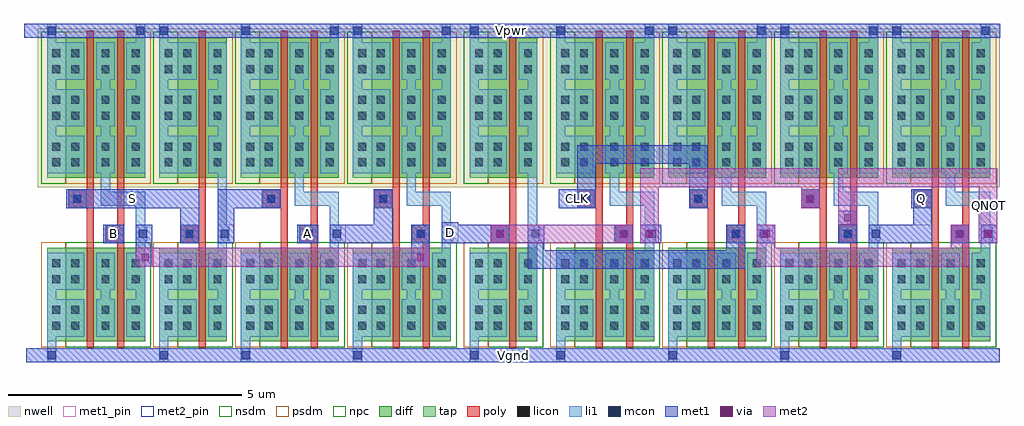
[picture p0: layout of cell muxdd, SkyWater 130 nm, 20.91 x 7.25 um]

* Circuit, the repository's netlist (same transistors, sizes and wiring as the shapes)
* NGSPICE file created from muxdd.ext - technology: sky130A

.subckt nand A OUT Vpwr Vgnd B
X0 OUT A Vpwr Vpwr sky130_fd_pr__pfet_01v8 ad=0.75 pd=3.5 as=1.35 ps=6.9 w=3 l=0.15
X1 OUT B a_30_n300# Vgnd sky130_fd_pr__nfet_01v8 ad=0.9 pd=4.9 as=0.5 ps=2.5 w=2 l=0.15
X2 Vpwr B OUT Vpwr sky130_fd_pr__pfet_01v8 ad=1.35 pd=6.9 as=0.75 ps=3.5 w=3 l=0.15
X3 a_30_n300# A Vgnd Vgnd sky130_fd_pr__nfet_01v8 ad=0.5 pd=2.5 as=0.9 ps=4.9 w=2 l=0.15
.ends

.subckt inverter IN OUT Vpwr Vgnd
X0 OUT IN Vpwr Vpwr sky130_fd_pr__pfet_01v8 ad=1.35 pd=6.9 as=1.35 ps=6.9 w=3 l=0.15
X1 OUT IN Vgnd Vgnd sky130_fd_pr__nfet_01v8 ad=0.9 pd=4.9 as=0.9 ps=4.9 w=2 l=0.15
.ends

.subckt dff CLK QNOT Vpwr D Q Vgnd
Xnand_3 Q QNOT Vpwr Vgnd nand_3/B nand
Xinverter_0 D nand_1/B Vpwr Vgnd inverter
Xnand_0 CLK nand_2/A Vpwr Vgnd D nand
Xnand_1 CLK nand_3/B Vpwr Vgnd nand_1/B nand
Xnand_2 nand_2/A Q Vpwr Vgnd QNOT nand
.ends

.subckt mux S A B Vpwr D inverter_0/OUT nand_1/A inverter_0/IN m1_620_660# Vgnd
Xinverter_0 inverter_0/IN inverter_0/OUT Vpwr Vgnd inverter
Xnand_0 S nand_2/B Vpwr Vgnd B nand
Xnand_1 nand_1/A nand_2/A Vpwr Vgnd A nand
Xnand_2 nand_2/A D Vpwr Vgnd nand_2/B nand
.ends

.subckt muxdd Vpwr Vgnd S B A D QNOT Q CLK
Xdff_0 CLK QNOT Vpwr D Q Vgnd dff
Xmux_0 S A B Vpwr D mux_0/nand_1/A mux_0/nand_1/A S S Vgnd mux
.ends

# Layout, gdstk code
import gdstk
lib = gdstk.Library(unit=1e-6, precision=1e-09)
def R(c, l, rs):  # rectangles x0, y0, x1, y1
    for r in rs: c.add(gdstk.rectangle(r[:2], r[2:], *l))
def A(c, l, x, y, w, h, nx, ny, dx, dy):  # array of equal rectangles
    R(c, l, [(x+i*dx, y+j*dy, x+i*dx+w, y+j*dy+h) for i in range(nx) for j in range(ny)])
nwell = (64, 20)
diff = (65, 20)
tap = (65, 44)
poly = (66, 20)
licon = (66, 44)
li1 = (67, 20)
mcon = (67, 44)
met1_pin = (68, 16)
met1 = (68, 20)
via = (68, 44)
met2_pin = (69, 16)
met2 = (69, 20)
nsdm = (93, 44)
psdm = (94, 20)
npc = (95, 20)

nand = lib.new_cell('nand')
R(nand, nwell, [(-1.05,1.8,1.45,5.2)])
R(nand, diff, [(-0.45,-1.5,1.25,0.5), (-0.45,2,1.25,5)])
R(nand, tap, [(-0.85,-1.5,-0.45,0.5), (-0.85,2,-0.45,5)])
R(nand, poly, [(0,-1.65,0.15,1.35), (0.65,-1.65,0.8,0.6), (0.4,0.6,0.8,1), (0.65,1,0.8,5.15), (-0.4,1.35,0.15,1.75), (0,1.75,0.15,5.15)])
A(nand, licon, -0.335, -1.255, 0.17, 0.17, 3, 2, 0.65, 0.34)
A(nand, licon, -0.335, -0.255, 0.17, 0.17, 3, 2, 0.65, 0.34)
A(nand, licon, -0.335, 2.245, 0.17, 0.17, 3, 2, 0.65, 0.34)
A(nand, licon, -0.335, 3.245, 0.17, 0.17, 3, 2, 0.65, 0.34)
A(nand, licon, -0.335, 4.245, 0.17, 0.17, 3, 2, 0.65, 0.34)
R(nand, licon, [(-0.735,-1.255,-0.565,-1.085), (-0.735,-0.915,-0.565,-0.745), (-0.735,-0.255,-0.565,-0.085), (-0.735,0.085,-0.565,0.255), (0.515,0.715,0.685,0.885), (-0.285,1.465,-0.115,1.635), (-0.735,2.245,-0.565,2.415), (-0.735,2.585,-0.565,2.755), (-0.735,3.245,-0.565,3.415), (-0.735,3.585,-0.565,3.755), (-0.735,4.245,-0.565,4.415), (-0.735,4.585,-0.565,4.755)])
A(nand, li1, -0.85, 2.1, 0.8, 0.8, 1, 3, 0, 1)
A(nand, li1, 0.2, 2.1, 0.4, 0.8, 1, 3, 0, 1)
A(nand, li1, 0.85, 2.1, 0.4, 0.8, 1, 3, 0, 1)
R(nand, li1, [(-0.85,-1.95,-0.65,-1.4), (-0.85,-1.4,-0.05,-0.6), (0.2,-1.4,0.6,-0.6), (0.85,-1.4,1.25,-0.6), (-0.85,-0.6,-0.65,-0.4), (0.3,-0.6,0.5,-0.4), (1.05,-0.6,1.25,-0.4), (-0.85,-0.4,-0.05,0.4), (0.2,-0.4,0.6,0.4), (0.85,-0.4,1.25,0.4), (1.05,0.4,1.25,0.65), (0.4,0.6,0.8,1), (1.05,0.65,1.3,0.95), (1.05,0.95,1.25,1.4), (-0.4,1.35,0,1.75), (0.3,1.4,1.25,1.7), (0.3,1.7,0.5,2.1), (-0.85,2.9,-0.65,3.1), (0.3,2.9,0.5,3.1), (1.05,2.9,1.25,3.1), (-0.85,3.9,-0.65,4.1), (0.3,3.9,0.5,4.1), (1.05,3.9,1.25,4.1), (-0.85,4.9,-0.65,5.3), (1.05,4.9,1.25,5.3)])
R(nand, mcon, [(-0.835,-1.885,-0.665,-1.715), (0.515,0.715,0.685,0.885), (1.115,0.715,1.285,0.885), (-0.285,1.465,-0.115,1.635), (-0.835,5.065,-0.665,5.235), (1.065,5.065,1.235,5.235)])
R(nand, met1_pin, [(-0.85,-1.9,-0.65,-1.7), (0.4,0.6,0.8,1), (1.05,0.6,1.4,1), (-0.4,1.35,0,1.75), (-0.85,5.05,-0.65,5.25)])
R(nand, met1, [(-1.05,-1.95,1.45,-1.65), (0.4,0.6,0.8,1), (1.05,0.6,1.4,1), (-0.4,1.35,0,1.75), (-1.05,5,1.45,5.3)])
R(nand, nsdm, [(-0.45,-1.625,1.375,0.625), (-0.975,1.875,-0.45,5.125)])
R(nand, psdm, [(-0.975,-1.625,-0.45,0.625), (-0.45,1.875,1.375,5.125)])
R(nand, npc, [(0.415,0.615,0.785,0.985), (-0.385,1.365,-0.015,1.735)])
nand.add(gdstk.Label('A', (-0.2,1.55), layer=68, texttype=5))
nand.add(gdstk.Label('OUT', (1.225,0.8), layer=68, texttype=5))
nand.add(gdstk.Label('Vpwr', (-0.75,5.15), layer=68, texttype=5))
nand.add(gdstk.Label('Vgnd', (-0.75,-1.8), layer=68, texttype=5))
nand.add(gdstk.Label('B', (0.6,0.8), layer=68, texttype=5))

inverter = lib.new_cell('inverter')
R(inverter, nwell, [(-1.05,1.8,0.8,5.2)])
R(inverter, diff, [(-0.45,-1.5,0.6,0.5), (-0.45,2,0.6,5)])
R(inverter, tap, [(-0.85,-1.5,-0.45,0.5), (-0.85,2,-0.45,5)])
R(inverter, poly, [(0,-1.65,0.15,0.6), (-0.4,0.6,0.15,1), (0,1,0.15,5.15)])
R(inverter, licon, [(-0.735,-1.255,-0.565,-1.085), (-0.335,-1.255,-0.165,-1.085), (0.315,-1.255,0.485,-1.085), (-0.735,-0.915,-0.565,-0.745), (-0.335,-0.915,-0.165,-0.745), (0.315,-0.915,0.485,-0.745), (-0.735,-0.255,-0.565,-0.085), (-0.335,-0.255,-0.165,-0.085), (0.315,-0.255,0.485,-0.085), (-0.735,0.085,-0.565,0.255), (-0.335,0.085,-0.165,0.255), (0.315,0.085,0.485,0.255), (-0.285,0.715,-0.115,0.885), (-0.735,2.245,-0.565,2.415), (-0.335,2.245,-0.165,2.415), (0.315,2.245,0.485,2.415), (-0.735,2.585,-0.565,2.755), (-0.335,2.585,-0.165,2.755), (0.315,2.585,0.485,2.755), (-0.735,3.245,-0.565,3.415), (-0.335,3.245,-0.165,3.415), (0.315,3.245,0.485,3.415), (-0.735,3.585,-0.565,3.755), (-0.335,3.585,-0.165,3.755), (0.315,3.585,0.485,3.755), (-0.735,4.245,-0.565,4.415), (-0.335,4.245,-0.165,4.415), (0.315,4.245,0.485,4.415), (-0.735,4.585,-0.565,4.755), (-0.335,4.585,-0.165,4.755), (0.315,4.585,0.485,4.755)])
A(inverter, li1, -0.85, 2.1, 0.8, 0.8, 1, 3, 0, 1)
A(inverter, li1, 0.2, 2.1, 0.4, 0.8, 1, 3, 0, 1)
R(inverter, li1, [(-0.85,-1.95,-0.65,-1.4), (-0.85,-1.4,-0.05,-0.6), (0.2,-1.4,0.6,-0.6), (-0.85,-0.6,-0.65,-0.4), (0.4,-0.6,0.6,-0.4), (-0.85,-0.4,-0.05,0.4), (0.2,-0.4,0.6,0.4), (0.4,0.4,0.6,0.65), (-0.4,0.6,0,1), (0.4,0.65,0.65,0.95), (0.4,0.95,0.6,2.1), (-0.85,2.9,-0.65,3.1), (0.4,2.9,0.6,3.1), (-0.85,3.9,-0.65,4.1), (0.4,3.9,0.6,4.1), (-0.85,4.9,-0.65,5.3)])
R(inverter, mcon, [(-0.835,-1.885,-0.665,-1.715), (-0.285,0.715,-0.115,0.885), (0.465,0.715,0.635,0.885), (-0.835,5.065,-0.665,5.235)])
R(inverter, met1_pin, [(-0.85,-1.9,-0.65,-1.7), (0.4,0.6,0.75,1), (-0.3,0.7,-0.1,0.9), (-0.85,5.05,-0.65,5.25)])
R(inverter, met1, [(-1.05,-1.95,0.8,-1.65), (-0.4,0.6,0,1), (0.4,0.6,0.75,1), (-1.05,5,0.8,5.3)])
R(inverter, nsdm, [(-0.45,-1.625,0.725,0.625), (-0.975,1.875,-0.45,5.125)])
R(inverter, psdm, [(-0.975,-1.625,-0.45,0.625), (-0.45,1.875,0.725,5.125)])
R(inverter, npc, [(-0.385,0.615,-0.015,0.985)])
inverter.add(gdstk.Label('IN', (-0.2,0.8), layer=68, texttype=5))
inverter.add(gdstk.Label('OUT', (0.575,0.8), layer=68, texttype=5))
inverter.add(gdstk.Label('Vpwr', (-0.75,5.15), layer=68, texttype=5))
inverter.add(gdstk.Label('Vgnd', (-0.75,-1.8), layer=68, texttype=5))

dff = lib.new_cell('dff')
R(dff, nwell, [(8.35,1.55,8.45,4.95)])
R(dff, met1_pin, [(-1.25,-2.2,8.35,-1.9), (5.65,0.35,7,0.75), (-0.6,1.1,-0.2,1.5), (-1.25,4.75,8.35,5.05)])
R(dff, met1, [(-1.25,-2.2,8.35,-1.9), (-1.65,-0.2,3,0.2), (-1.65,0.2,-1.3,0.75), (2.6,0.2,3,0.75), (-2.45,0.35,-2.05,0.75), (0.2,0.35,0.6,0.75), (0.75,0.35,1.15,0.75), (3.25,0.35,3.65,0.75), (5,0.35,5.4,1.05), (5.65,0.35,7,0.75), (7.45,0.4,7.75,0.7), (8.05,0.4,8.35,0.7), (6.6,0.75,7,1.5), (-0.6,1.1,-0.2,2.05), (1.8,1.1,2.2,2.05), (4.25,1.15,4.55,1.45), (-0.6,2.05,2.2,2.45), (-1.25,4.75,8.35,5.05)])
R(dff, via, [(-2.325,0.475,-2.175,0.625), (0.325,0.475,0.475,0.625), (0.875,0.475,1.025,0.625), (3.375,0.475,3.525,0.625), (7.525,0.475,7.675,0.625), (8.125,0.475,8.275,0.625), (5.125,0.825,5.275,0.975), (4.325,1.225,4.475,1.375)])
R(dff, met2_pin, [(-2.1,0.35,0.25,0.75), (5,1.55,8.35,1.95)])
R(dff, met2, [(3.25,-0.15,7.8,0.25), (3.25,0.25,3.65,0.75), (7.4,0.25,7.8,0.75), (-2.45,0.35,0.6,0.75), (0.75,0.35,1.15,1.55), (8.05,0.35,8.35,1.55), (5,0.75,5.4,1.55), (4.2,1.1,4.6,1.55), (0.75,1.55,4.6,1.95), (5,1.55,8.35,1.95)])
dff.add(gdstk.Reference(nand, (7,-0.25)))
dff.add(gdstk.Reference(nand, (4.6,-0.25)))
dff.add(gdstk.Reference(nand, (2.2,-0.25)))
dff.add(gdstk.Reference(nand, (-0.2,-0.25)))
dff.add(gdstk.Reference(inverter, (-2.05,-0.25)))
dff.add(gdstk.Label('CLK', (-0.4,1.3), layer=68, texttype=5))
dff.add(gdstk.Label('QNOT', (6.675,1.75), layer=69, texttype=5))
dff.add(gdstk.Label('Vpwr', (3.55,4.9), layer=68, texttype=5))
dff.add(gdstk.Label('Vgnd', (3.55,-2.05), layer=68, texttype=5))
dff.add(gdstk.Label('D', (-0.925,0.55), layer=69, texttype=5))
dff.add(gdstk.Label('Q', (6.325,0.55), layer=68, texttype=5))

mux = lib.new_cell('mux')
R(mux, nwell, [(8.95,3.75,9.05,7.15)])
R(mux, met1_pin, [(0,0,9.05,0.3), (1.45,2.55,1.85,2.95), (5.6,2.55,6,2.95), (8.65,2.55,9,2.95), (0.75,3.4,0.95,3.6), (0,6.95,9.05,7.25)])
R(mux, met1, [(0,0,9.05,0.3), (2.1,2.05,2.45,2.7), (8,2.05,8.4,2.55), (1.45,2.55,1.85,2.95), (5.6,2.55,6,2.95), (6.55,2.55,7.6,2.95), (8.65,2.55,9,2.95), (2.4,2.7,2.45,2.95), (7.2,2.95,7.6,3.3), (0.65,3.3,3.05,3.7), (3.1,3.3,3.45,3.7), (4.15,3.3,4.8,3.7), (0,6.95,9.05,7.25)])
R(mux, via, [(2.225,2.175,2.375,2.325), (8.125,2.175,8.275,2.325)])
R(mux, met2, [(2.1,2.05,8.4,2.45)])
mux.add(gdstk.Reference(nand, (7.6,1.95)))
mux.add(gdstk.Reference(nand, (5.2,1.95)))
mux.add(gdstk.Reference(nand, (1.05,1.95)))
mux.add(gdstk.Reference(inverter, (3.45,1.95)))
mux.add(gdstk.Label('S', (0.85,3.5), layer=68, texttype=5))
mux.add(gdstk.Label('A', (5.8,2.75), layer=68, texttype=5))
mux.add(gdstk.Label('B', (1.65,2.75), layer=68, texttype=5))
mux.add(gdstk.Label('Vpwr', (4.525,7.1), layer=68, texttype=5))
mux.add(gdstk.Label('Vgnd', (4.525,0.15), layer=68, texttype=5))
mux.add(gdstk.Label('D', (8.825,2.75), layer=68, texttype=5))

muxdd = lib.new_cell('muxdd')
R(muxdd, met1_pin, [(7.15,1.65,28,1.95), (8.8,4.2,9.25,4.6), (12.95,4.2,13.4,4.6), (16.05,4.2,16.4,4.65), (8,4.95,10.85,5.35), (18.55,4.95,19.35,5.35), (26.1,4.95,26.55,5.35), (7.1,8.6,28.005,8.9)])
R(muxdd, met1, [(7.15,1.65,28,1.95), (8.8,4.2,9.25,4.6), (10.45,4.2,10.85,4.95), (11.25,4.2,11.6,5.35), (12.95,4.2,13.4,4.6), (16.05,4.2,17.5,4.6), (25.2,4.2,26.55,4.6), (16.05,4.6,16.4,4.65), (8,4.95,10.85,5.35), (18.55,4.95,19.35,5.35), (26.1,4.95,26.55,5.35), (7.1,8.6,28.005,8.9)])
R(muxdd, met2_pin, [(27.55,4.2,27.95,5.8)])
R(muxdd, met2, [(27.55,4.2,27.95,5.4), (24.55,5.4,27.95,5.8)])
muxdd.add(gdstk.Reference(dff, (19.545,3.85)))
muxdd.add(gdstk.Reference(mux, (7.395,1.65)))
muxdd.add(gdstk.Label('Vpwr', (17.552,8.75), layer=68, texttype=5))
muxdd.add(gdstk.Label('Vgnd', (17.575,1.8), layer=68, texttype=5))
muxdd.add(gdstk.Label('S', (9.425,5.15), layer=68, texttype=5))
muxdd.add(gdstk.Label('B', (9.025,4.4), layer=68, texttype=5))
muxdd.add(gdstk.Label('A', (13.175,4.4), layer=68, texttype=5))
muxdd.add(gdstk.Label('D', (16.225,4.425), layer=68, texttype=5))
muxdd.add(gdstk.Label('QNOT', (27.75,5), layer=69, texttype=5))
muxdd.add(gdstk.Label('Q', (26.325,5.15), layer=68, texttype=5))
muxdd.add(gdstk.Label('CLK', (18.95,5.15), layer=68, texttype=5))

lib.write_gds('muxdd.gds')
